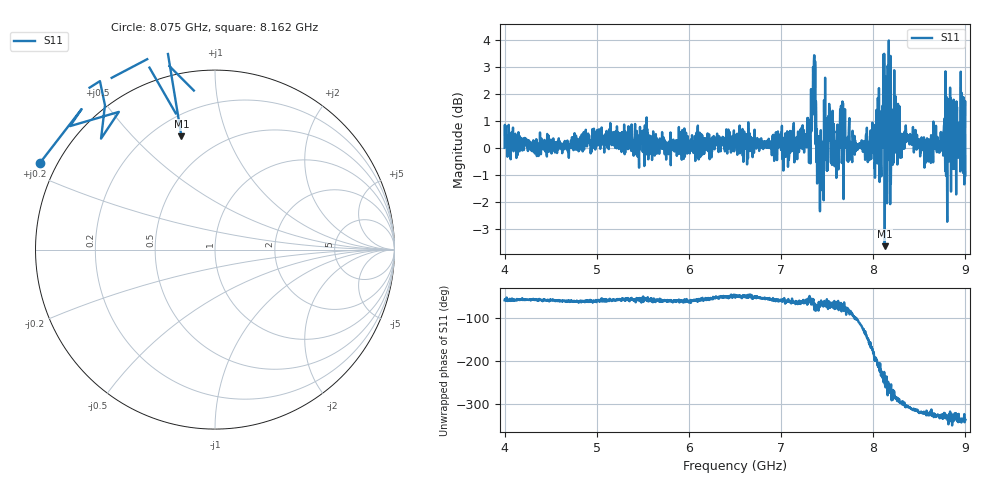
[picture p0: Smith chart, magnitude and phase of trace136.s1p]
! Created with skrf 1.8.0 (http://scikit-rf.org).
# Hz S RI R 50.0
!freq ReS11 ImS11
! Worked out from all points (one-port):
!   1601 points, 4 GHz to 9 GHz, reference 50 ohm
!   lowest |S11| = -3.6 dB at 8.125 GHz (marker M1), VSWR 4.85, Z = 15.7 + j34.9 ohm
!   |S11| at or under -10 dB: nowhere
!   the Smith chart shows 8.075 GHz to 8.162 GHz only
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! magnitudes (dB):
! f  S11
! 4 GHz  0.0
! 4.625 GHz  -0.2
! 5.25 GHz  0.0
! 5.875 GHz  0.0
! 6.5 GHz  0.0
! 7.125 GHz  0.5
! 7.297 GHz  1.1
! 7.319 GHz  -0.6
! 7.347 GHz  3.0
! 7.372 GHz  2.9
! 7.4 GHz  0.1
! 7.438 GHz  -0.7
! 7.503 GHz  0.3
! 7.578 GHz  0.6
! 7.65 GHz  1.6
! 7.75 GHz  -0.3
! 8.022 GHz  -0.3
! 8.097 GHz  1.1
! 8.125 GHz  -3.6
! 8.156 GHz  3.0
! 8.197 GHz  -0.2
! 8.375 GHz  0.5
! 8.578 GHz  0.3
! 8.834 GHz  2.2
! 8.875 GHz  0.3
! 8.953 GHz  -0.1
! 8.972 GHz  0.3
! 9 GHz  -1.0
